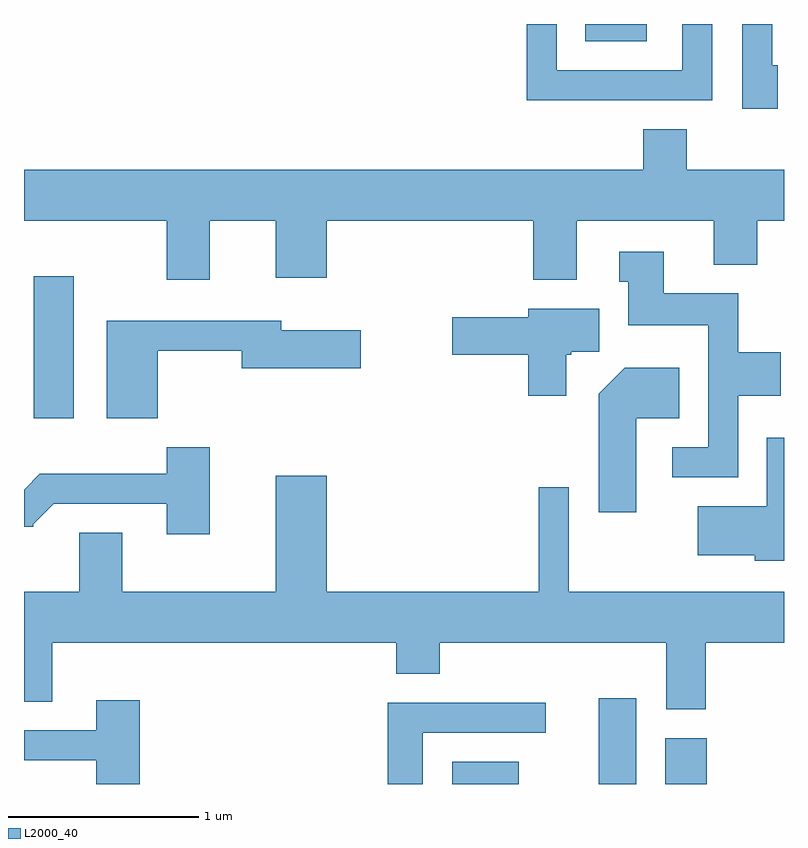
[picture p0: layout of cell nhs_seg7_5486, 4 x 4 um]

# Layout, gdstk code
import gdstk
lib = gdstk.Library(unit=1e-6, precision=1e-09)
def R(c, l, rs):  # rectangles x0, y0, x1, y1
    for r in rs: c.add(gdstk.rectangle(r[:2], r[2:], *l))
def P(c, l, *ps):  # polygons
    for p in ps: c.add(gdstk.Polygon(p, *l))
L2000_40 = (2000, 40)

nhs_seg7_5486 = lib.new_cell('nhs_seg7_5486')
R(nhs_seg7_5486, L2000_40, [(355.866,1700.252,356.214,1700.369), (356.636,1700.252,356.834,1700.704), (356.986,1700.252,357.204,1700.494), (353.661,1702.176,353.874,1702.924), (356.566,1704.161,356.889,1704.252)])
P(nhs_seg7_5486, L2000_40, [(357.579,1704.034),(357.549,1704.034),(357.549,1704.252),(357.391,1704.252),(357.391,1703.806),(357.579,1703.806)],
  [(357.234,1704.252),(357.076,1704.252),(357.076,1704.009),(356.414,1704.009),(356.414,1704.252),(356.256,1704.252),(356.256,1703.851),(357.234,1703.851)],
  [(354.589,1703.216),(354.936,1703.216),(354.936,1702.916),(355.204,1702.916),(355.204,1703.216),(356.291,1703.216),(356.291,1702.906),(356.519,1702.906),(356.519,1703.216),(357.241,1703.216),(357.241,1702.986),(357.469,1702.986),(357.469,1703.216),(357.611,1703.216),(357.611,1703.484),(357.099,1703.484),(357.099,1703.699),(356.871,1703.699),(356.871,1703.484),(353.611,1703.484),(353.611,1703.216),(354.361,1703.216),(354.361,1702.906),(354.589,1702.906)],
  [(357.369,1702.296),(357.594,1702.296),(357.594,1702.524),(357.369,1702.524),(357.369,1702.834),(356.979,1702.834),(356.979,1703.054),(356.743,1703.054),(356.743,1702.896),(356.791,1702.896),(356.791,1702.666),(357.211,1702.666),(357.211,1702.024),(357.023,1702.024),(357.023,1701.866),(357.369,1701.866)],
  [(356.464,1702.511),(356.49,1702.511),(356.49,1702.526),(356.639,1702.526),(356.639,1702.754),(356.266,1702.754),(356.266,1702.709),(355.866,1702.709),(355.866,1702.511),(356.266,1702.511),(356.266,1702.296),(356.464,1702.296)],
  [(354.314,1702.531),(354.756,1702.531),(354.756,1702.441),(355.384,1702.441),(355.384,1702.639),(354.964,1702.639),(354.964,1702.689),(354.046,1702.689),(354.046,1702.176),(354.314,1702.176)],
  [(356.834,1702.176),(357.059,1702.176),(357.059,1702.444),(356.774,1702.444),(356.636,1702.307),(356.636,1701.681),(356.834,1701.681)],
  [(357.611,1702.074),(357.521,1702.074),(357.521,1701.714),(357.156,1701.714),(357.156,1701.456),(357.456,1701.456),(357.456,1701.426),(357.611,1701.426)],
  [(354.589,1702.024),(354.361,1702.024),(354.361,1701.884),(353.694,1701.884),(353.611,1701.801),(353.611,1701.606),(353.66,1701.606),(353.66,1701.62),(353.767,1701.726),(354.361,1701.726),(354.361,1701.566),(354.589,1701.566)],
  [(355.204,1701.874),(354.936,1701.874),(354.936,1701.264),(354.129,1701.264),(354.129,1701.574),(353.901,1701.574),(353.901,1701.264),(353.611,1701.264),(353.611,1700.686),(353.759,1700.686),(353.759,1700.996),(355.571,1700.996),(355.571,1700.831),(355.799,1700.831),(355.799,1700.996),(356.991,1700.996),(356.991,1700.646),(357.199,1700.646),(357.199,1700.996),(357.611,1700.996),(357.611,1701.264),(356.479,1701.264),(356.479,1701.813),(356.321,1701.813),(356.321,1701.264),(355.204,1701.264)],
  [(354.219,1700.694),(353.991,1700.694),(353.991,1700.534),(353.611,1700.534),(353.611,1700.376),(353.991,1700.376),(353.991,1700.252),(354.219,1700.252)],
  [(355.709,1700.521),(356.358,1700.521),(356.358,1700.679),(355.526,1700.679),(355.526,1700.252),(355.709,1700.252)])

lib.write_gds('nhs_seg7_5486.gds')
